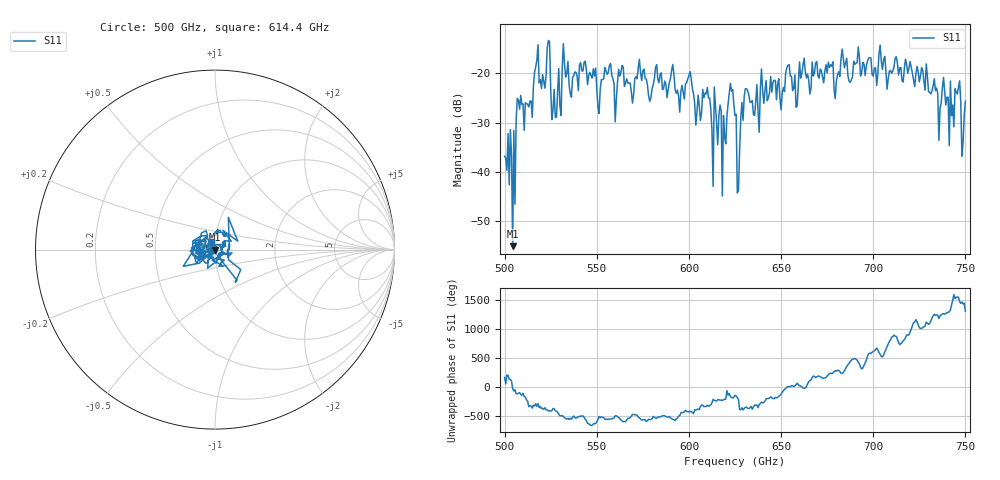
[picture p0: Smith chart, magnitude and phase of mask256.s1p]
!Created with skrf (http://scikit-rf.org).
# GHz S MA R 50.0
!freq magS11 angS11
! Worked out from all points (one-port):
!   401 points, 500 GHz to 750 GHz, reference 50 ohm
!   lowest |S11| = -55.0 dB at 504.4 GHz (marker M1), VSWR 1.00, Z = 50.2 - j0.0924 ohm
!   |S11| at or under -10 dB: start of sweep to end of sweep
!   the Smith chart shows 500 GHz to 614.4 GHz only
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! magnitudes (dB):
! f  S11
! 500 GHz  -36.8
! 504.4 GHz  -55.0
! 507.5 GHz  -25.4
! 513.8 GHz  -25.7
! 516.9 GHz  -18.7
! 520.6 GHz  -20.3
! 523.8 GHz  -13.4
! 526.9 GHz  -23.2
! 531.2 GHz  -18.8
! 542.5 GHz  -19.5
! 551.2 GHz  -28.1
! 562.5 GHz  -20.6
! 578.8 GHz  -25.7
! 590.6 GHz  -19.4
! 593.8 GHz  -23.4
! 610 GHz  -22.9
! 611.9 GHz  -27.3
! 619.4 GHz  -32.9
! 623.1 GHz  -23.6
! 625 GHz  -28.5
! 626.9 GHz  -43.8
! 631.2 GHz  -23.1
! 656.2 GHz  -23.5
! 680 GHz  -21.6
! 684.4 GHz  -18.9
! 687.5 GHz  -21.8
! 718.8 GHz  -20.0
! 750 GHz  -25.7
